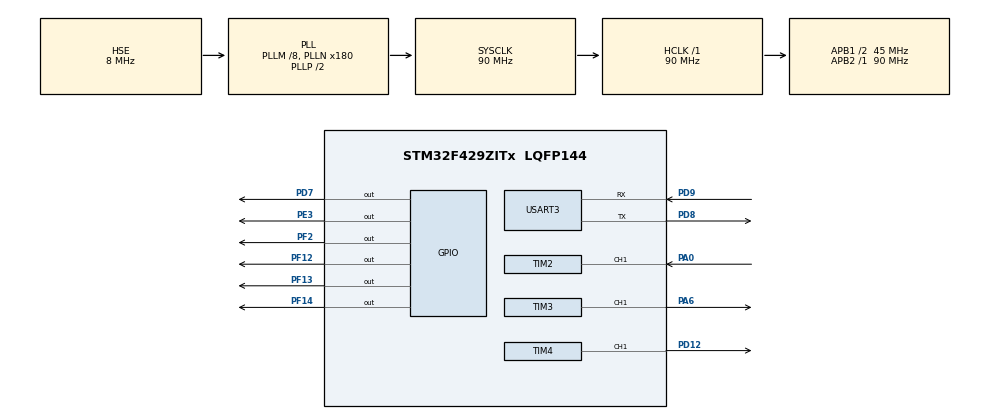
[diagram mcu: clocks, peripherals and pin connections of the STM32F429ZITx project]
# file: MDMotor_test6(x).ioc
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Mcu.Family=STM32F4
Mcu.Name=STM32F429ZITx
Mcu.Package=LQFP144
NVIC.PriorityGroup=NVIC_PRIORITYGROUP_4
NVIC.TIM2_IRQn=true\:0\:0\:false\:false\:true\:true\:true\:true
NVIC.TIM4_IRQn=true\:0\:0\:false\:false\:true\:true\:true\:true
NVIC.USART3_IRQn=true\:0\:0\:false\:false\:true\:true\:true\:true
PA0/WKUP.Signal=S_TIM2_CH1_ETR
PA13.Mode=Serial_Wire
PA13.Signal=SYS_JTMS-SWDIO
PA14.Mode=Serial_Wire
PA14.Signal=SYS_JTCK-SWCLK
PA6.Signal=S_TIM3_CH1
PD12.Signal=S_TIM4_CH1
PD7.GPIO_ModeDefaultOutputPP=GPIO_MODE_OUTPUT_PP
PD7.GPIO_PuPd=GPIO_PULLUP
PD7.GPIO_Speed=GPIO_SPEED_FREQ_HIGH
PD7.PinState=GPIO_PIN_RESET
PD7.Signal=GPIO_Output
PD8.Mode=Asynchronous
PD8.Signal=USART3_TX
PD9.Mode=Asynchronous
PD9.Signal=USART3_RX
PE3.GPIO_ModeDefaultOutputPP=GPIO_MODE_OUTPUT_PP
PE3.GPIO_PuPd=GPIO_PULLUP
PE3.GPIO_Speed=GPIO_SPEED_FREQ_HIGH
PE3.PinState=GPIO_PIN_RESET
PE3.Signal=GPIO_Output
PF12.GPIO_ModeDefaultOutputPP=GPIO_MODE_OUTPUT_PP
PF12.GPIO_PuPd=GPIO_PULLUP
PF12.GPIO_Speed=GPIO_SPEED_FREQ_HIGH
PF12.PinState=GPIO_PIN_RESET
PF12.Signal=GPIO_Output
PF13.GPIO_ModeDefaultOutputPP=GPIO_MODE_OUTPUT_PP
PF13.GPIO_PuPd=GPIO_PULLUP
PF13.GPIO_Speed=GPIO_SPEED_FREQ_HIGH
PF13.PinState=GPIO_PIN_RESET
PF13.Signal=GPIO_Output
PF14.GPIO_ModeDefaultOutputPP=GPIO_MODE_OUTPUT_PP
PF14.GPIO_PuPd=GPIO_PULLUP
PF14.GPIO_Speed=GPIO_SPEED_FREQ_HIGH
PF14.PinState=GPIO_PIN_RESET
PF14.Signal=GPIO_Output
PF2.GPIO_ModeDefaultOutputPP=GPIO_MODE_OUTPUT_PP
PF2.GPIO_PuPd=GPIO_PULLUP
PF2.GPIO_Speed=GPIO_SPEED_FREQ_HIGH
PF2.PinState=GPIO_PIN_RESET
PF2.Signal=GPIO_Output
PH0/OSC_IN.Mode=HSE-External-Clock-Source
PH0/OSC_IN.Signal=RCC_OSC_IN
PH1/OSC_OUT.Mode=HSE-External-Clock-Source
PH1/OSC_OUT.Signal=RCC_OSC_OUT
ProjectManager.HeapSize=0x200
ProjectManager.StackSize=0x400
ProjectManager.TargetToolchain=STM32CubeIDE
RCC.48MHZClocksFreq_Value=45000000
RCC.AHBFreq_Value=90000000
RCC.APB1CLKDivider=RCC_HCLK_DIV2
RCC.APB1Freq_Value=45000000
RCC.APB1TimFreq_Value=90000000
RCC.APB2Freq_Value=90000000
RCC.APB2TimFreq_Value=90000000
RCC.CortexFreq_Value=90000000
RCC.HCLKFreq_Value=90000000
RCC.HSE_VALUE=8000000
RCC.HSI_VALUE=16000000
RCC.LSE_VALUE=32768
RCC.PLLM=8
RCC.PLLN=180
RCC.PLLSourceVirtual=RCC_PLLSOURCE_HSE
RCC.SYSCLKFreq_VALUE=90000000
RCC.SYSCLKSource=RCC_SYSCLKSOURCE_PLLCLK
RCC.VCOOutputFreq_Value=180000000
SH.S_TIM2_CH1_ETR.0=TIM2_CH1,Input_Capture1_from_TI1
SH.S_TIM3_CH1.0=TIM3_CH1,PWM Generation1 CH1
SH.S_TIM4_CH1.0=TIM4_CH1,PWM Generation1 CH1
TIM2.Channel-Input_Capture1_from_TI1=TIM_CHANNEL_1
TIM2.Period=9
TIM2.Prescaler=89
TIM3.Channel-PWM\ Generation1\ CH1=TIM_CHANNEL_1
TIM3.Period=99
TIM3.Prescaler=89
TIM3.Pulse-PWM\ Generation1\ CH1=19
TIM4.Channel-PWM\ Generation1\ CH1=TIM_CHANNEL_1
TIM4.Period=9
TIM4.Prescaler=89
TIM4.Pulse-PWM\ Generation1\ CH1=2
USART3.VirtualMode=VM_ASYNC
VP_TIM2_VS_ClockSourceINT.Mode=Internal
VP_TIM3_VS_ClockSourceINT.Mode=Internal
VP_TIM4_VS_ClockSourceINT.Mode=Internal
board=custom

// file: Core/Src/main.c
/* USER CODE BEGIN Header */
/**
  ******************************************************************************
  * @file           : main.c
  * @brief          : Main program body
  ******************************************************************************
  * @attention
  *
  * Copyright (c) 2024 STMicroelectronics.
  * All rights reserved.
  *
  * This software is licensed under terms that can be found in the LICENSE file
  * in the root directory of this software component.
  * If no LICENSE file comes with this software, it is provided AS-IS.
  *
  ******************************************************************************
  */
/* USER CODE END Header */
#include "main.h"

/* USER CODE BEGIN PD */

#define TxBufferSize	(countof(TxBuffer) - 1)
#define RxBufferSize	0xFF
#define countof(a)		(sizeof(a) / sizeof(*(a)))

/* USER CODE END PD */

TIM_HandleTypeDef htim2;
TIM_HandleTypeDef htim3;
TIM_HandleTypeDef htim4;

UART_HandleTypeDef huart3;

/* USER CODE BEGIN PV */

uint8_t TxBuffer[] = "\n\rUART Example 1 (Transmission Success !! )\n\r\n\r";
uint8_t RxBuffer[RxBufferSize];

int m1_rev=0, m2_rev=0;
int m1_deg=0, m2_deg=0;

/* USER CODE END PV */

void SystemClock_Config(void);
static void MX_GPIO_Init(void);
static void MX_TIM3_Init(void);
static void MX_TIM4_Init(void);
static void MX_USART3_UART_Init(void);
static void MX_TIM2_Init(void);
/* USER CODE BEGIN PFP */

void LED_OnOff(int, int);

/* Usart printf() */
#ifdef __cplusplus
extern "C" int _write(int32_t file, uint8_t *ptr, int32_t len) {
#else
int _write(int32_t file, uint8_t *ptr, int32_t len) {
#endif
	if( HAL_UART_Transmit(&huart3, ptr, len, len) == HAL_OK ) return len;
	else return 0;
}

/* USER CODE END PFP */

int main(void)
{

  /* MCU Configuration--------------------------------------------------------*/

  /* Reset of all peripherals, Initializes the Flash interface and the Systick. */
  HAL_Init();

  /* Configure the system clock */
  SystemClock_Config();

  /* Initialize all configured peripherals */
  MX_GPIO_Init();
  MX_TIM3_Init();
  MX_TIM4_Init();
  MX_USART3_UART_Init();
  MX_TIM2_Init();
  /* USER CODE BEGIN 2 */

//  LED_OnOff(LED_ALL, 500);
  HAL_TIM_Base_Start_IT(&htim3);
  HAL_TIM_PWM_Start(&htim3, TIM_CHANNEL_1);
  HAL_TIM_Base_Start_IT(&htim4);
  HAL_TIM_PWM_Start(&htim4, TIM_CHANNEL_1);

  HAL_TIM_Base_Start_IT(&htim2);
  HAL_TIM_IC_Start_IT(&htim2, TIM_CHANNEL_1);

  HAL_UART_Transmit(&huart3, (uint8_t*)TxBuffer, TxBufferSize , 0xFFFF);

  /*
  HAL_GPIO_WritePin(GPIOF, GPIO_PIN_12, RESET);	// Motor1 DIR - CCW
  HAL_GPIO_WritePin(GPIOF, GPIO_PIN_13, RESET);	// Motor1 RUN/BRK - RUN
  HAL_GPIO_WritePin(GPIOF, GPIO_PIN_14, RESET);	// Motor1 START/STOP - START

  HAL_GPIO_WritePin(GPIOF, GPIO_PIN_2, RESET);	// Motor2 DIR - CCW
  HAL_GPIO_WritePin(GPIOD, GPIO_PIN_7, RESET);	// Motor2 RUN/BRK - RUN
  HAL_GPIO_WritePin(GPIOE, GPIO_PIN_3, RESET);	// Motor2 START/STOP - START

*/
/* Init Settings */
/*	  HAL_GPIO_WritePin(GPIOF, GPIO_PIN_12, SET);	// Motor1 DIR - CW
	  HAL_GPIO_WritePin(GPIOF, GPIO_PIN_13, SET);	// Motor1 RUN/BRK - BRK
	  HAL_GPIO_WritePin(GPIOF, GPIO_PIN_14, SET);	// Motor1 START/STOP - STOP

	  HAL_GPIO_WritePin(GPIOF, GPIO_PIN_2, SET);	// Motor2 DIR - CW
	  HAL_GPIO_WritePin(GPIOD, GPIO_PIN_7, SET);	// Motor2 RUN/BRK - BRK
	  HAL_GPIO_WritePin(GPIOE, GPIO_PIN_3, SET);	// Motor2 START/STOP - STOP*/

/* First movement */
/*	  HAL_GPIO_WritePin(GPIOF, GPIO_PIN_13, RESET);	// Motor1 RUN/BRK - RUN
  	  HAL_GPIO_WritePin(GPIOF, GPIO_PIN_14, RESET);	// Motor1 START/STOP - START
  	  HAL_GPIO_WritePin(GPIOD, GPIO_PIN_7, RESET);	// Motor2 RUN/BRK - RUN
  	  HAL_GPIO_WritePin(GPIOE, GPIO_PIN_3, RESET);	// Motor2 START/STOP - START

  	  HAL_Delay(5000);

  	  HAL_GPIO_WritePin(GPIOF, GPIO_PIN_13, SET);	// Motor1 RUN/BRK - BRK
  	  HAL_GPIO_WritePin(GPIOD, GPIO_PIN_7, SET);	// Motor2 RUN/BRK - BRK

  	  HAL_Delay(5000);

  	  HAL_GPIO_WritePin(GPIOF, GPIO_PIN_13, RESET);	// Motor1 RUN/BRK - RUN
  	  HAL_GPIO_WritePin(GPIOD, GPIO_PIN_7, RESET);	// Motor2 RUN/BRK - RUN

  	  HAL_Delay(5000);

  	  HAL_GPIO_WritePin(GPIOF, GPIO_PIN_14, SET);	// Motor1 START/STOP - STOP
  	  HAL_GPIO_WritePin(GPIOE, GPIO_PIN_3, SET);	// Motor2 START/STOP - STOP

  	  HAL_Delay(5000);*/

 /* Second movement */
/*	  HAL_GPIO_WritePin(GPIOF, GPIO_PIN_12, RESET);	// Motor1 DIR - CCW
	  HAL_GPIO_WritePin(GPIOF, GPIO_PIN_2, RESET);	// Motor2 DIR - CCW
	  HAL_GPIO_WritePin(GPIOF, GPIO_PIN_13, RESET);	// Motor1 RUN/BRK - RUN
	  HAL_GPIO_WritePin(GPIOF, GPIO_PIN_14, RESET);	// Motor1 START/STOP - START
	  HAL_GPIO_WritePin(GPIOD, GPIO_PIN_7, RESET);	// Motor2 RUN/BRK - RUN
	  HAL_GPIO_WritePin(GPIOE, GPIO_PIN_3, RESET);	// Motor2 START/STOP - START

	  HAL_Delay(5000);

	  HAL_GPIO_WritePin(GPIOF, GPIO_PIN_13, SET);	// Motor1 RUN/BRK - BRK
	  HAL_GPIO_WritePin(GPIOD, GPIO_PIN_7, SET);	// Motor2 RUN/BRK - BRK

	  HAL_Delay(5000);

	  HAL_GPIO_WritePin(GPIOF, GPIO_PIN_13, RESET);	// Motor1 RUN/BRK - RUN
	  HAL_GPIO_WritePin(GPIOD, GPIO_PIN_7, RESET);	// Motor2 RUN/BRK - RUN

	  HAL_Delay(5000);

	  HAL_GPIO_WritePin(GPIOF, GPIO_PIN_14, SET);	// Motor1 START/STOP - STOP
	  HAL_GPIO_WritePin(GPIOE, GPIO_PIN_3, SET);	// Motor2 START/STOP - STOP

	  HAL_Delay(5000);*/

  /* USER CODE END 2 */

  /* Infinite loop */
  /* USER CODE BEGIN WHILE */
  while (1)
  {
	  /*
	  HAL_GPIO_WritePin(GPIOF, GPIO_PIN_13, RESET);	// Motor1 RUN/BRK - RUN
	  HAL_GPIO_WritePin(GPIOF, GPIO_PIN_14, RESET);	// Motor1 START/STOP - START
	  HAL_GPIO_WritePin(GPIOD, GPIO_PIN_7, RESET);	// Motor2 RUN/BRK - RUN
	  HAL_GPIO_WritePin(GPIOE, GPIO_PIN_3, RESET);	// Motor2 START/STOP - START

	  HAL_Delay(5000);

	  HAL_GPIO_WritePin(GPIOF, GPIO_PIN_13, SET);	// Motor1 RUN/BRK - BRK
	  HAL_GPIO_WritePin(GPIOD, GPIO_PIN_7, SET);	// Motor2 RUN/BRK - BRK

	  HAL_Delay(5000);

	  HAL_GPIO_WritePin(GPIOF, GPIO_PIN_13, RESET);	// Motor1 RUN/BRK - RUN
	  HAL_GPIO_WritePin(GPIOD, GPIO_PIN_7, RESET);	// Motor2 RUN/BRK - RUN

	  HAL_Delay(5000);

	  HAL_GPIO_WritePin(GPIOF, GPIO_PIN_14, SET);	// Motor1 START/STOP - STOP
	  HAL_GPIO_WritePin(GPIOE, GPIO_PIN_3, SET);	// Motor2 START/STOP - STOP

	  HAL_Delay(5000);

	*/
	  	printf("%d \n", m1_deg*30);
		printf("%d \n", m1_rev);
		printf("\n");

		HAL_Delay(1000);

    /* USER CODE END WHILE */

  }
}

void SystemClock_Config(void)
{
  RCC_OscInitTypeDef RCC_OscInitStruct = {0};
  RCC_ClkInitTypeDef RCC_ClkInitStruct = {0};

  /** Configure the main internal regulator output voltage
  */
  __HAL_RCC_PWR_CLK_ENABLE();
  __HAL_PWR_VOLTAGESCALING_CONFIG(PWR_REGULATOR_VOLTAGE_SCALE3);

  /** Initializes the RCC Oscillators according to the specified parameters
  * in the RCC_OscInitTypeDef structure.
  */
  RCC_OscInitStruct.OscillatorType = RCC_OSCILLATORTYPE_HSE;
  RCC_OscInitStruct.HSEState = RCC_HSE_BYPASS;
  RCC_OscInitStruct.PLL.PLLState = RCC_PLL_ON;
  RCC_OscInitStruct.PLL.PLLSource = RCC_PLLSOURCE_HSE;
  RCC_OscInitStruct.PLL.PLLM = 8;
  RCC_OscInitStruct.PLL.PLLN = 180;
  RCC_OscInitStruct.PLL.PLLP = RCC_PLLP_DIV2;
  RCC_OscInitStruct.PLL.PLLQ = 4;
  if (HAL_RCC_OscConfig(&RCC_OscInitStruct) != HAL_OK)
  {
    Error_Handler();
  }

  /** Activate the Over-Drive mode
  */
  if (HAL_PWREx_EnableOverDrive() != HAL_OK)
  {
    Error_Handler();
  }

  /** Initializes the CPU, AHB and APB buses clocks
  */
  RCC_ClkInitStruct.ClockType = RCC_CLOCKTYPE_HCLK|RCC_CLOCKTYPE_SYSCLK
                              |RCC_CLOCKTYPE_PCLK1|RCC_CLOCKTYPE_PCLK2;
  RCC_ClkInitStruct.SYSCLKSource = RCC_SYSCLKSOURCE_PLLCLK;
  RCC_ClkInitStruct.AHBCLKDivider = RCC_SYSCLK_DIV1;
  RCC_ClkInitStruct.APB1CLKDivider = RCC_HCLK_DIV2;
  RCC_ClkInitStruct.APB2CLKDivider = RCC_HCLK_DIV1;

  if (HAL_RCC_ClockConfig(&RCC_ClkInitStruct, FLASH_LATENCY_2) != HAL_OK)
  {
    Error_Handler();
  }
}

static void MX_TIM2_Init(void)
{

  TIM_ClockConfigTypeDef sClockSourceConfig = {0};
  TIM_MasterConfigTypeDef sMasterConfig = {0};
  TIM_IC_InitTypeDef sConfigIC = {0};

  htim2.Instance = TIM2;
  htim2.Init.Prescaler = 89;
  htim2.Init.CounterMode = TIM_COUNTERMODE_UP;
  htim2.Init.Period = 9;
  htim2.Init.ClockDivision = TIM_CLOCKDIVISION_DIV1;
  htim2.Init.AutoReloadPreload = TIM_AUTORELOAD_PRELOAD_DISABLE;
  if (HAL_TIM_Base_Init(&htim2) != HAL_OK)
  {
    Error_Handler();
  }
  sClockSourceConfig.ClockSource = TIM_CLOCKSOURCE_INTERNAL;
  if (HAL_TIM_ConfigClockSource(&htim2, &sClockSourceConfig) != HAL_OK)
  {
    Error_Handler();
  }
  if (HAL_TIM_IC_Init(&htim2) != HAL_OK)
  {
    Error_Handler();
  }
  sMasterConfig.MasterOutputTrigger = TIM_TRGO_RESET;
  sMasterConfig.MasterSlaveMode = TIM_MASTERSLAVEMODE_DISABLE;
  if (HAL_TIMEx_MasterConfigSynchronization(&htim2, &sMasterConfig) != HAL_OK)
  {
    Error_Handler();
  }
  sConfigIC.ICPolarity = TIM_INPUTCHANNELPOLARITY_RISING;
  sConfigIC.ICSelection = TIM_ICSELECTION_DIRECTTI;
  sConfigIC.ICPrescaler = TIM_ICPSC_DIV1;
  sConfigIC.ICFilter = 0;
  if (HAL_TIM_IC_ConfigChannel(&htim2, &sConfigIC, TIM_CHANNEL_1) != HAL_OK)
  {
    Error_Handler();
  }

}

static void MX_TIM3_Init(void)
{

  TIM_ClockConfigTypeDef sClockSourceConfig = {0};
  TIM_MasterConfigTypeDef sMasterConfig = {0};
  TIM_OC_InitTypeDef sConfigOC = {0};

  htim3.Instance = TIM3;
  htim3.Init.Prescaler = 89;
  htim3.Init.CounterMode = TIM_COUNTERMODE_UP;
  htim3.Init.Period = 99;
  htim3.Init.ClockDivision = TIM_CLOCKDIVISION_DIV1;
  htim3.Init.AutoReloadPreload = TIM_AUTORELOAD_PRELOAD_DISABLE;
  if (HAL_TIM_Base_Init(&htim3) != HAL_OK)
  {
    Error_Handler();
  }
  sClockSourceConfig.ClockSource = TIM_CLOCKSOURCE_INTERNAL;
  if (HAL_TIM_ConfigClockSource(&htim3, &sClockSourceConfig) != HAL_OK)
  {
    Error_Handler();
  }
  if (HAL_TIM_PWM_Init(&htim3) != HAL_OK)
  {
    Error_Handler();
  }
  sMasterConfig.MasterOutputTrigger = TIM_TRGO_RESET;
  sMasterConfig.MasterSlaveMode = TIM_MASTERSLAVEMODE_DISABLE;
  if (HAL_TIMEx_MasterConfigSynchronization(&htim3, &sMasterConfig) != HAL_OK)
  {
    Error_Handler();
  }
  sConfigOC.OCMode = TIM_OCMODE_PWM1;
  sConfigOC.Pulse = 19;
  sConfigOC.OCPolarity = TIM_OCPOLARITY_HIGH;
  sConfigOC.OCFastMode = TIM_OCFAST_DISABLE;
  if (HAL_TIM_PWM_ConfigChannel(&htim3, &sConfigOC, TIM_CHANNEL_1) != HAL_OK)
  {
    Error_Handler();
  }
  HAL_TIM_MspPostInit(&htim3);

}

static void MX_TIM4_Init(void)
{

  TIM_ClockConfigTypeDef sClockSourceConfig = {0};
  TIM_MasterConfigTypeDef sMasterConfig = {0};
  TIM_OC_InitTypeDef sConfigOC = {0};

  htim4.Instance = TIM4;
  htim4.Init.Prescaler = 89;
  htim4.Init.CounterMode = TIM_COUNTERMODE_UP;
  htim4.Init.Period = 9;
  htim4.Init.ClockDivision = TIM_CLOCKDIVISION_DIV1;
  htim4.Init.AutoReloadPreload = TIM_AUTORELOAD_PRELOAD_DISABLE;
  if (HAL_TIM_Base_Init(&htim4) != HAL_OK)
  {
    Error_Handler();
  }
  sClockSourceConfig.ClockSource = TIM_CLOCKSOURCE_INTERNAL;
  if (HAL_TIM_ConfigClockSource(&htim4, &sClockSourceConfig) != HAL_OK)
  {
    Error_Handler();
  }
  if (HAL_TIM_PWM_Init(&htim4) != HAL_OK)
  {
    Error_Handler();
  }
  sMasterConfig.MasterOutputTrigger = TIM_TRGO_RESET;
  sMasterConfig.MasterSlaveMode = TIM_MASTERSLAVEMODE_DISABLE;
  if (HAL_TIMEx_MasterConfigSynchronization(&htim4, &sMasterConfig) != HAL_OK)
  {
    Error_Handler();
  }
  sConfigOC.OCMode = TIM_OCMODE_PWM1;
  sConfigOC.Pulse = 2;
  sConfigOC.OCPolarity = TIM_OCPOLARITY_HIGH;
  sConfigOC.OCFastMode = TIM_OCFAST_DISABLE;
  if (HAL_TIM_PWM_ConfigChannel(&htim4, &sConfigOC, TIM_CHANNEL_1) != HAL_OK)
  {
    Error_Handler();
  }
  HAL_TIM_MspPostInit(&htim4);

}

static void MX_USART3_UART_Init(void)
{

  huart3.Instance = USART3;
  huart3.Init.BaudRate = 115200;
  huart3.Init.WordLength = UART_WORDLENGTH_8B;
  huart3.Init.StopBits = UART_STOPBITS_1;
  huart3.Init.Parity = UART_PARITY_NONE;
  huart3.Init.Mode = UART_MODE_TX_RX;
  huart3.Init.HwFlowCtl = UART_HWCONTROL_NONE;
  huart3.Init.OverSampling = UART_OVERSAMPLING_16;
  if (HAL_UART_Init(&huart3) != HAL_OK)
  {
    Error_Handler();
  }

}

static void MX_GPIO_Init(void)
{
  GPIO_InitTypeDef GPIO_InitStruct = {0};

  /* GPIO Ports Clock Enable */
  __HAL_RCC_GPIOE_CLK_ENABLE();
  __HAL_RCC_GPIOF_CLK_ENABLE();
  __HAL_RCC_GPIOH_CLK_ENABLE();
  __HAL_RCC_GPIOA_CLK_ENABLE();
  __HAL_RCC_GPIOD_CLK_ENABLE();

  /*Configure GPIO pin Output Level */
  HAL_GPIO_WritePin(GPIOE, GPIO_PIN_3, GPIO_PIN_RESET);

  /*Configure GPIO pin Output Level */
  HAL_GPIO_WritePin(GPIOF, GPIO_PIN_2|GPIO_PIN_12|GPIO_PIN_13|GPIO_PIN_14, GPIO_PIN_RESET);

  /*Configure GPIO pin Output Level */
  HAL_GPIO_WritePin(GPIOD, GPIO_PIN_7, GPIO_PIN_RESET);

  /*Configure GPIO pin : PE3 */
  GPIO_InitStruct.Pin = GPIO_PIN_3;
  GPIO_InitStruct.Mode = GPIO_MODE_OUTPUT_PP;
  GPIO_InitStruct.Pull = GPIO_PULLUP;
  GPIO_InitStruct.Speed = GPIO_SPEED_FREQ_HIGH;
  HAL_GPIO_Init(GPIOE, &GPIO_InitStruct);

  /*Configure GPIO pins : PF2 PF12 PF13 PF14 */
  GPIO_InitStruct.Pin = GPIO_PIN_2|GPIO_PIN_12|GPIO_PIN_13|GPIO_PIN_14;
  GPIO_InitStruct.Mode = GPIO_MODE_OUTPUT_PP;
  GPIO_InitStruct.Pull = GPIO_PULLUP;
  GPIO_InitStruct.Speed = GPIO_SPEED_FREQ_HIGH;
  HAL_GPIO_Init(GPIOF, &GPIO_InitStruct);

  /*Configure GPIO pin : PD7 */
  GPIO_InitStruct.Pin = GPIO_PIN_7;
  GPIO_InitStruct.Mode = GPIO_MODE_OUTPUT_PP;
  GPIO_InitStruct.Pull = GPIO_PULLUP;
  GPIO_InitStruct.Speed = GPIO_SPEED_FREQ_HIGH;
  HAL_GPIO_Init(GPIOD, &GPIO_InitStruct);

}

/* USER CODE BEGIN 4 */
/*
void LED_OnOff(int led, int interval)
{
	HAL_GPIO_WritePin(GPIO_LED, led, GPIO_PIN_SET );
	HAL_GPIO_WritePin(GPIO_LED_Nucleo, led, GPIO_PIN_SET );
	HAL_Delay(interval);
	HAL_GPIO_WritePin(GPIO_LED, led, GPIO_PIN_RESET );
	HAL_GPIO_WritePin(GPIO_LED_Nucleo, led, GPIO_PIN_RESET );
}*/
/*
void HAL_TIM_PeriodElapsedCallback(TIM_HandleTypeDef *htim)
{
	HAL_GPIO_TogglePin(GPIO_LED, LED_ALL);
}
*/

void HAL_TIM_IC_CaptureCallback(TIM_HandleTypeDef *htim)
{
	if ( htim->Instance == TIM2){
		if(htim->Channel == HAL_TIM_ACTIVE_CHANNEL_1)
		{
			m1_deg = m1_deg + 1;
			if(m1_deg==12)
			{
				m1_deg = 0;
				m1_rev++;
			}

		}

	}

}

/* USER CODE END 4 */

void Error_Handler(void)
{
  __disable_irq();
  while (1)
  {
  }
}
